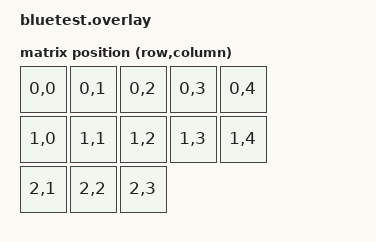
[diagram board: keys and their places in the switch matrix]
#include <dt-bindings/zmk/matrix_transform.h>

#include <dt-bindings/zmk/matrix_transform.h>


/ {
    chosen {
        zmk,kscan = &kscan0;
        zmk,matrix_transform = &default_transform;
    };

    default_transform: keymap_transform_0 {
        compatible = "zmk,matrix-transform";
        columns = <5>;
        rows = <3>;
// | MX1  | MX2  | MX3  | MX4  | MX5  |
// | MX6  | MX7  | MX8  | MX9  | MX10 |

map = <
RC(0,0)  RC(0,1)  RC(0,2)  RC(0,3)  RC(0,4) 
RC(1,0)  RC(1,1)  RC(1,2)  RC(1,3)  RC(1,4)
RC(2,1)  RC(2,2)  RC(2,3)
        >;
    };
	};;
